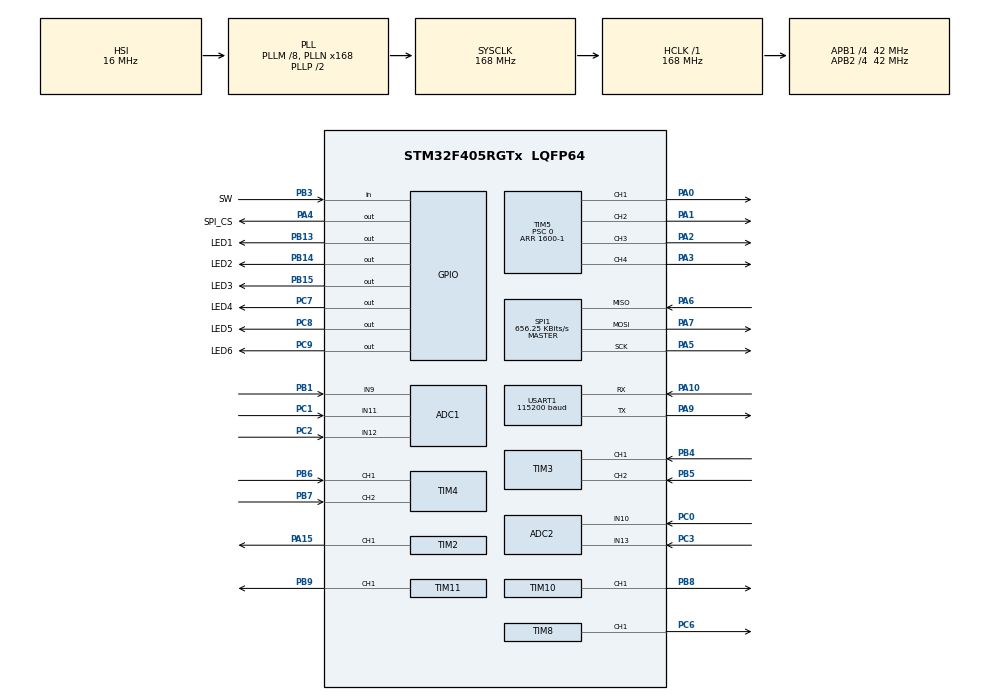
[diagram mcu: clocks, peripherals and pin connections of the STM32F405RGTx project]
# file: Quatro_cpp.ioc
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ADC1.Channel-0\#ChannelRegularConversion=ADC_CHANNEL_11
ADC1.Channel-1\#ChannelRegularConversion=ADC_CHANNEL_12
ADC1.Channel-2\#ChannelRegularConversion=ADC_CHANNEL_9
ADC1.ClockPrescaler=ADC_CLOCK_SYNC_PCLK_DIV4
ADC1.ContinuousConvMode=ENABLE
ADC1.DMAContinuousRequests=ENABLE
ADC1.EOCSelection=ADC_EOC_SEQ_CONV
ADC1.NbrOfConversion=3
ADC1.NbrOfConversionFlag=1
ADC1.Rank-0\#ChannelRegularConversion=1
ADC1.Rank-1\#ChannelRegularConversion=2
ADC1.Rank-2\#ChannelRegularConversion=3
ADC1.SamplingTime-0\#ChannelRegularConversion=ADC_SAMPLETIME_56CYCLES
ADC1.SamplingTime-1\#ChannelRegularConversion=ADC_SAMPLETIME_56CYCLES
ADC1.SamplingTime-2\#ChannelRegularConversion=ADC_SAMPLETIME_56CYCLES
ADC1.master=1
ADC2.Channel-0\#ChannelRegularConversion=ADC_CHANNEL_10
ADC2.Channel-1\#ChannelRegularConversion=ADC_CHANNEL_13
ADC2.ClockPrescaler=ADC_CLOCK_SYNC_PCLK_DIV4
ADC2.ContinuousConvMode=ENABLE
ADC2.DMAContinuousRequests=ENABLE
ADC2.EOCSelection=ADC_EOC_SEQ_CONV
ADC2.InjNumberOfConversion=0
ADC2.NbrOfConversion=2
ADC2.NbrOfConversionFlag=1
ADC2.Rank-0\#ChannelRegularConversion=1
ADC2.Rank-1\#ChannelRegularConversion=2
ADC2.SamplingTime-0\#ChannelRegularConversion=ADC_SAMPLETIME_56CYCLES
ADC2.SamplingTime-1\#ChannelRegularConversion=ADC_SAMPLETIME_56CYCLES
Dma.ADC1.1.Direction=DMA_PERIPH_TO_MEMORY
Dma.ADC1.1.FIFOMode=DMA_FIFOMODE_DISABLE
Dma.ADC1.1.Instance=DMA2_Stream0
Dma.ADC1.1.MemDataAlignment=DMA_MDATAALIGN_HALFWORD
Dma.ADC1.1.MemInc=DMA_MINC_ENABLE
Dma.ADC1.1.Mode=DMA_CIRCULAR
Dma.ADC1.1.PeriphDataAlignment=DMA_PDATAALIGN_HALFWORD
Dma.ADC1.1.PeriphInc=DMA_PINC_DISABLE
Dma.ADC1.1.Priority=DMA_PRIORITY_LOW
Dma.ADC2.0.Direction=DMA_PERIPH_TO_MEMORY
Dma.ADC2.0.FIFOMode=DMA_FIFOMODE_DISABLE
Dma.ADC2.0.Instance=DMA2_Stream2
Dma.ADC2.0.MemDataAlignment=DMA_MDATAALIGN_HALFWORD
Dma.ADC2.0.MemInc=DMA_MINC_ENABLE
Dma.ADC2.0.Mode=DMA_CIRCULAR
Dma.ADC2.0.PeriphDataAlignment=DMA_PDATAALIGN_HALFWORD
Dma.ADC2.0.PeriphInc=DMA_PINC_DISABLE
Dma.ADC2.0.Priority=DMA_PRIORITY_LOW
Dma.Request0=ADC2
Dma.Request1=ADC1
Mcu.Family=STM32F4
Mcu.Name=STM32F405RGTx
Mcu.Package=LQFP64
NVIC.DMA2_Stream0_IRQn=true\:0\:0\:false\:false\:true\:false\:true\:true
NVIC.DMA2_Stream2_IRQn=true\:0\:0\:false\:false\:true\:false\:true\:true
NVIC.PriorityGroup=NVIC_PRIORITYGROUP_4
NVIC.TIM1_UP_TIM10_IRQn=true\:0\:0\:false\:false\:true\:true\:true\:true
NVIC.TIM7_IRQn=true\:0\:0\:false\:false\:true\:true\:true\:true
NVIC.TIM8_UP_TIM13_IRQn=true\:0\:0\:false\:false\:true\:true\:true\:true
PA0-WKUP.Signal=S_TIM5_CH1
PA1.Signal=S_TIM5_CH2
PA10.Mode=Asynchronous
PA10.Signal=USART1_RX
PA13.Mode=Serial_Wire
PA13.Signal=SYS_JTMS-SWDIO
PA14.Mode=Serial_Wire
PA14.Signal=SYS_JTCK-SWCLK
PA15.Signal=S_TIM2_CH1_ETR
PA2.Signal=S_TIM5_CH3
PA3.Signal=S_TIM5_CH4
PA4.GPIO_Label=SPI_CS
PA4.Signal=GPIO_Output
PA5.Mode=Full_Duplex_Master
PA5.Signal=SPI1_SCK
PA6.Mode=Full_Duplex_Master
PA6.Signal=SPI1_MISO
PA7.Mode=Full_Duplex_Master
PA7.Signal=SPI1_MOSI
PA9.Mode=Asynchronous
PA9.Signal=USART1_TX
PB1.Signal=ADCx_IN9
PB13.GPIO_Label=LED1
PB13.Signal=GPIO_Output
PB14.GPIO_Label=LED2
PB14.Signal=GPIO_Output
PB15.GPIO_Label=LED3
PB15.Signal=GPIO_Output
PB3.GPIO_Label=SW
PB3.Signal=GPIO_Input
PB4.Signal=S_TIM3_CH1
PB5.Signal=S_TIM3_CH2
PB6.Signal=S_TIM4_CH1
PB7.Signal=S_TIM4_CH2
PB8.Signal=S_TIM10_CH1
PB9.Signal=S_TIM11_CH1
PC0.Signal=ADCx_IN10
PC1.Signal=ADCx_IN11
PC2.Signal=ADCx_IN12
PC3.Signal=ADCx_IN13
PC6.Signal=S_TIM8_CH1
PC7.GPIO_Label=LED4
PC7.Signal=GPIO_Output
PC8.GPIO_Label=LED5
PC8.Signal=GPIO_Output
PC9.GPIO_Label=LED6
PC9.Signal=GPIO_Output
ProjectManager.HeapSize=0x200
ProjectManager.StackSize=0x400
ProjectManager.TargetToolchain=Makefile
RCC.48MHZClocksFreq_Value=84000000
RCC.AHBFreq_Value=168000000
RCC.APB1CLKDivider=RCC_HCLK_DIV4
RCC.APB1Freq_Value=42000000
RCC.APB1TimFreq_Value=84000000
RCC.APB2CLKDivider=RCC_HCLK_DIV4
RCC.APB2Freq_Value=42000000
RCC.APB2TimFreq_Value=84000000
RCC.CortexFreq_Value=168000000
RCC.HCLKFreq_Value=168000000
RCC.HSE_VALUE=25000000
RCC.HSI_VALUE=16000000
RCC.LSE_VALUE=32768
RCC.PLLM=8
RCC.PLLN=168
RCC.SYSCLKFreq_VALUE=168000000
RCC.SYSCLKSource=RCC_SYSCLKSOURCE_PLLCLK
RCC.VCOOutputFreq_Value=336000000
SH.ADCx_IN10.0=ADC2_IN10,IN10
SH.ADCx_IN11.0=ADC1_IN11,IN11
SH.ADCx_IN12.0=ADC1_IN12,IN12
SH.ADCx_IN13.0=ADC2_IN13,IN13
SH.ADCx_IN9.0=ADC1_IN9,IN9
SH.S_TIM10_CH1.0=TIM10_CH1,PWM Generation1 CH1
SH.S_TIM11_CH1.0=TIM11_CH1,PWM Generation1 CH1
SH.S_TIM2_CH1_ETR.0=TIM2_CH1,PWM Generation1 CH1
SH.S_TIM3_CH1.0=TIM3_CH1,Encoder_Interface
SH.S_TIM3_CH2.0=TIM3_CH2,Encoder_Interface
SH.S_TIM4_CH1.0=TIM4_CH1,Encoder_Interface
SH.S_TIM4_CH2.0=TIM4_CH2,Encoder_Interface
SH.S_TIM5_CH1.0=TIM5_CH1,PWM Generation1 CH1
SH.S_TIM5_CH2.0=TIM5_CH2,PWM Generation2 CH2
SH.S_TIM5_CH3.0=TIM5_CH3,PWM Generation3 CH3
SH.S_TIM5_CH4.0=TIM5_CH4,PWM Generation4 CH4
SH.S_TIM8_CH1.0=TIM8_CH1,PWM Generation1 CH1
SPI1.BaudRatePrescaler=SPI_BAUDRATEPRESCALER_64
SPI1.CLKPhase=SPI_PHASE_2EDGE
SPI1.CLKPolarity=SPI_POLARITY_HIGH
SPI1.CalculateBaudRate=656.25 KBits/s
SPI1.Direction=SPI_DIRECTION_2LINES
SPI1.Mode=SPI_MODE_MASTER
SPI1.VirtualType=VM_MASTER
TIM1.Period=10-1
TIM1.Prescaler=100-1
TIM10.Channel=TIM_CHANNEL_1
TIM10.Period=100-1
TIM10.Prescaler=84-1
TIM11.Channel=TIM_CHANNEL_1
TIM11.Period=100-1
TIM11.Prescaler=84-1
TIM13.Period=10000-1
TIM13.Prescaler=8400-1
TIM2.Channel-PWM\ Generation1\ CH1=TIM_CHANNEL_1
TIM2.Period=1000-1
TIM2.Prescaler=84-1
TIM3.EncoderMode=TIM_ENCODERMODE_TI12
TIM4.EncoderMode=TIM_ENCODERMODE_TI12
TIM5.Channel-PWM\ Generation1\ CH1=TIM_CHANNEL_1
TIM5.Channel-PWM\ Generation2\ CH2=TIM_CHANNEL_2
TIM5.Channel-PWM\ Generation3\ CH3=TIM_CHANNEL_3
TIM5.Channel-PWM\ Generation4\ CH4=TIM_CHANNEL_4
TIM5.Period=1600-1
TIM5.Prescaler=0
TIM7.Period=1000-1
TIM7.Prescaler=84-1
TIM8.Channel-PWM\ Generation1\ CH1=TIM_CHANNEL_1
TIM8.Period=4200-1
TIM8.Prescaler=0
USART1.BaudRate=115200
USART1.VirtualMode=VM_ASYNC
VP_TIM10_VS_ClockSourceINT.Mode=Enable_Timer
VP_TIM11_VS_ClockSourceINT.Mode=Enable_Timer
VP_TIM13_VS_ClockSourceINT.Mode=Enable_Timer
VP_TIM1_VS_ClockSourceINT.Mode=Internal
VP_TIM2_VS_ClockSourceINT.Mode=Internal
VP_TIM7_VS_ClockSourceINT.Mode=Enable_Timer
board=custom

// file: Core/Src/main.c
/* USER CODE BEGIN Header */
/**
 ******************************************************************************
 * @file           : main.c
 * @brief          : Main program body
 ******************************************************************************
 * @attention
 *
 * <h2><center>&copy; Copyright (c) 2021 STMicroelectronics.
 * All rights reserved.</center></h2>
 *
 * This software component is licensed by ST under BSD 3-Clause license,
 * the "License"; You may not use this file except in compliance with the
 * License. You may obtain a copy of the License at:
 *                        opensource.org/licenses/BSD-3-Clause
 *
 ******************************************************************************
 */
/* USER CODE END Header */
#include "main.h"
#include "adc.h"
#include "dma.h"
#include "spi.h"
#include "tim.h"
#include "usart.h"
#include "gpio.h"

/* USER CODE BEGIN Includes */
#include "main_exec.h"
/* USER CODE END Includes */

void SystemClock_Config(void);

int main(void)
{

  /* MCU Configuration--------------------------------------------------------*/

  /* Reset of all peripherals, Initializes the Flash interface and the Systick. */
  HAL_Init();

  /* Configure the system clock */
  SystemClock_Config();

  /* Initialize all configured peripherals */
  MX_GPIO_Init();
  MX_DMA_Init();
  MX_SPI1_Init();
  MX_TIM2_Init();
  MX_TIM3_Init();
  MX_TIM4_Init();
  MX_TIM10_Init();
  MX_TIM11_Init();
  MX_ADC1_Init();
  MX_TIM5_Init();
  MX_TIM8_Init();
  MX_USART1_UART_Init();
  MX_ADC2_Init();
  MX_TIM1_Init();
  MX_TIM7_Init();
  MX_TIM13_Init();
  /* USER CODE BEGIN 2 */
  HAL_TIM_PWM_Start(&htim2, TIM_CHANNEL_1);
  HAL_TIM_Encoder_Start(&htim3, TIM_CHANNEL_ALL);
  HAL_TIM_Encoder_Start(&htim4, TIM_CHANNEL_ALL);
  HAL_TIM_PWM_Start(&htim5, TIM_CHANNEL_1);
  HAL_TIM_PWM_Start(&htim5, TIM_CHANNEL_2);
  HAL_TIM_PWM_Start(&htim5, TIM_CHANNEL_3);
  HAL_TIM_PWM_Start(&htim5, TIM_CHANNEL_4);
  HAL_TIM_PWM_Start(&htim8, TIM_CHANNEL_1);
  HAL_TIM_PWM_Start(&htim10, TIM_CHANNEL_1);
  HAL_TIM_PWM_Start(&htim11, TIM_CHANNEL_1);
  // HAL_TIM_Base_Start_IT(&htim13);

  setbuf(stdout, NULL);
  StartupProcess();

  HAL_TIM_Base_Start_IT(&htim1);
  HAL_TIM_Base_Start_IT(&htim7);
  /* USER CODE END 2 */

  /* Infinite loop */
  while (1)
  {

    /* USER CODE BEGIN 3 */
    StateProcess();
  } // end while

  /* USER CODE END 3 */
}

void SystemClock_Config(void)
{
  RCC_OscInitTypeDef RCC_OscInitStruct = {0};
  RCC_ClkInitTypeDef RCC_ClkInitStruct = {0};

  /** Configure the main internal regulator output voltage
   */
  __HAL_RCC_PWR_CLK_ENABLE();
  __HAL_PWR_VOLTAGESCALING_CONFIG(PWR_REGULATOR_VOLTAGE_SCALE1);

  /** Initializes the RCC Oscillators according to the specified parameters
   * in the RCC_OscInitTypeDef structure.
   */
  RCC_OscInitStruct.OscillatorType = RCC_OSCILLATORTYPE_HSI;
  RCC_OscInitStruct.HSIState = RCC_HSI_ON;
  RCC_OscInitStruct.HSICalibrationValue = RCC_HSICALIBRATION_DEFAULT;
  RCC_OscInitStruct.PLL.PLLState = RCC_PLL_ON;
  RCC_OscInitStruct.PLL.PLLSource = RCC_PLLSOURCE_HSI;
  RCC_OscInitStruct.PLL.PLLM = 8;
  RCC_OscInitStruct.PLL.PLLN = 168;
  RCC_OscInitStruct.PLL.PLLP = RCC_PLLP_DIV2;
  RCC_OscInitStruct.PLL.PLLQ = 4;
  if (HAL_RCC_OscConfig(&RCC_OscInitStruct) != HAL_OK)
  {
    Error_Handler();
  }

  /** Initializes the CPU, AHB and APB buses clocks
   */
  RCC_ClkInitStruct.ClockType = RCC_CLOCKTYPE_HCLK | RCC_CLOCKTYPE_SYSCLK | RCC_CLOCKTYPE_PCLK1 | RCC_CLOCKTYPE_PCLK2;
  RCC_ClkInitStruct.SYSCLKSource = RCC_SYSCLKSOURCE_PLLCLK;
  RCC_ClkInitStruct.AHBCLKDivider = RCC_SYSCLK_DIV1;
  RCC_ClkInitStruct.APB1CLKDivider = RCC_HCLK_DIV4;
  RCC_ClkInitStruct.APB2CLKDivider = RCC_HCLK_DIV4;

  if (HAL_RCC_ClockConfig(&RCC_ClkInitStruct, FLASH_LATENCY_5) != HAL_OK)
  {
    Error_Handler();
  }
}

void Error_Handler(void)
{
  __disable_irq();
  while (1)
  {
  }
}
